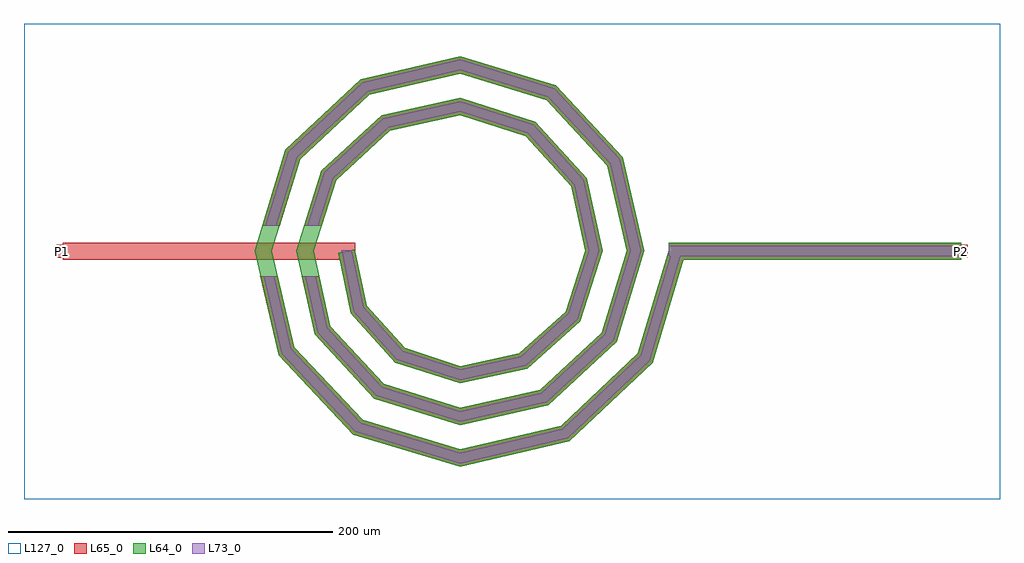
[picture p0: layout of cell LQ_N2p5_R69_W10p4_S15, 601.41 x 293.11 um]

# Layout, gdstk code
import gdstk
lib = gdstk.Library(unit=1e-6, precision=1e-09)
def R(c, l, rs):  # rectangles x0, y0, x1, y1
    for r in rs: c.add(gdstk.rectangle(r[:2], r[2:], *l))
def P(c, l, *ps):  # polygons
    for p in ps: c.add(gdstk.Polygon(p, *l))
L64_0 = (64, 0)
L65_0 = (65, 0)
L73_0 = (73, 0)
L127_0 = (127, 0)

lq_n2p5_r69_w10p4_s15 = lib.new_cell('LQ_N2p5_R69_W10p4_S15')
R(lq_n2p5_r69_w10p4_s15, L64_0, [(128.822,-5.2,308.822,5.2)])
P(lq_n2p5_r69_w10p4_s15, L64_0, [(-57.491,-33.537),(-34.098,-59.639),(0.282,-70.838),(36.727,-63.065),(65.189,-37.329),(77.261,0.26),(68.637,39.92),(40.557,70.741),(0.241,83.683),(-43.116,74.208),(-76.294,43.783),(-90.105,0.225),(-79.777,-46.314),(-47.007,-81.849),(0.211,-96.528),(49.513,-85.346),(87.405,-50.229),(102.95,0.198),(90.914,52.714),(53.451,92.961),(0.187,109.373),(-55.916,96.482),(-98.518,56.671),(-115.795,0.177),(-102.049,-59.119),(-59.89,-104.076),(0.168,-122.218),(62.323,-107.615),(109.634,-63.109),(129.042,1.496),(139.002,-1.496),(118.791,-68.772),(67.417,-117.101),(0.168,-132.98),(-65.568,-113.224),(-111.543,-64.198),(-126.557,0.177),(-107.657,62.364),(-60.978,105.985),(0.187,120.134),(59.162,102.089),(100.428,57.757),(113.711,0.198),(96.521,-55.96),(54.535,-94.871),(0.211,-107.287),(-52.76,-90.952),(-89.315,-51.312),(-100.864,0.225),(-85.381,49.561),(-48.087,83.76),(0.241,94.44),(46.364,79.81),(78.206,44.859),(88.017,0.26),(74.237,-43.169),(41.63,-72.653),(0.282,-81.593),(-39.977,-68.662),(-67.102,-38.396),(-74.883,-1.061),(-64.702,1.061)])
R(lq_n2p5_r69_w10p4_s15, L65_0, [(-244.593,-5.2,-64.593,5.2), (128.822,-5.2,308.822,5.2), (-248.593,-4,-240.593,4), (304.822,-4,312.822,4)])
P(lq_n2p5_r69_w10p4_s15, L65_0, [(-102.049,-59.119),(-59.89,-104.076),(0.169,-122.218),(62.323,-107.615),(109.634,-63.109),(129.042,1.496),(139.002,-1.496),(118.791,-68.772),(67.417,-117.101),(0.169,-132.98),(-65.568,-113.225),(-111.543,-64.198),(-122.878,-15.6),(-112.198,-15.6)],
  [(-79.777,-46.314),(-47.007,-81.849),(0.211,-96.528),(49.513,-85.346),(87.405,-50.229),(102.95,0.198),(90.914,52.714),(53.451,92.961),(0.187,109.373),(-55.916,96.482),(-98.518,56.671),(-111,15.6),(-121.87,15.6),(-107.657,62.365),(-60.978,105.985),(0.187,120.134),(59.162,102.089),(100.428,57.757),(113.711,0.198),(96.521,-55.96),(54.535,-94.871),(0.211,-107.287),(-52.76,-90.952),(-89.315,-51.312),(-97.318,-15.6),(-86.66,-15.6)],
  [(-34.098,-59.639),(0.282,-70.839),(36.727,-63.065),(65.189,-37.329),(77.261,0.26),(68.637,39.92),(40.557,70.741),(0.241,83.683),(-43.116,74.208),(-76.294,43.783),(-85.139,15.6),(-96.039,15.6),(-85.381,49.561),(-48.087,83.76),(0.241,94.44),(46.364,79.81),(78.206,44.859),(88.017,0.26),(74.237,-43.169),(41.63,-72.653),(0.282,-81.593),(-39.977,-68.662),(-67.102,-38.396),(-74.883,-1.061),(-64.702,1.061),(-57.491,-33.537)])
R(lq_n2p5_r69_w10p4_s15, L73_0, [(128.822,-3.2,308.822,3.2)])
P(lq_n2p5_r69_w10p4_s15, L73_0, [(-103.875,-60.096),(-60.982,-105.835),(0.104,-124.288),(63.303,-109.439),(111.395,-64.198),(130.957,0.921),(137.087,0.921),(117.03,-67.683),(66.438,-115.277),(0.104,-130.911),(-64.476,-111.465),(-109.717,-63.221),(-120.824,-15.6),(-114.252,-15.6)],
  [(-81.611,-47.275),(-48.113,-83.6),(0.13,-98.597),(50.479,-87.178),(89.158,-51.331),(105.019,0.122),(92.744,53.684),(54.549,94.716),(0.115,111.442),(-56.89,98.309),(-100.276,57.766),(-113.091,15.6),(-119.78,15.6),(-105.9,61.27),(-60.005,104.158),(0.115,118.065),(58.063,100.334),(98.598,56.788),(111.641,0.122),(94.768,-54.858),(53.57,-93.039),(0.13,-105.218),(-51.653,-89.201),(-87.481,-50.351),(-95.268,-15.6),(-88.709,-15.6)],
  [(-35.228,-61.374),(0.174,-72.907),(37.67,-64.909),(66.929,-38.452),(79.329,0.16),(70.477,40.87),(41.674,72.485),(0.149,85.752),(-44.072,76.045),(-78.042,44.894),(-87.235,15.6),(-93.943,15.6),(-83.634,48.45),(-47.131,81.923),(0.149,92.372),(45.247,78.066),(76.366,43.91),(85.948,0.16),(72.497,-42.046),(40.687,-70.809),(0.174,-79.525),(-38.846,-66.927),(-65.254,-37.462),(-72.925,0.653),(-66.66,0.653),(-59.339,-34.472)])
R(lq_n2p5_r69_w10p4_s15, L127_0, [(-268.593,-152.98,332.822,140.134)])
lq_n2p5_r69_w10p4_s15.add(gdstk.Label('P2', (308.822,0), layer=65, texttype=0))
lq_n2p5_r69_w10p4_s15.add(gdstk.Label('P1', (-244.593,0), layer=65, texttype=0))
lq_n2p5_r69_w10p4_s15.add(gdstk.Label('P2', (312.822,0), layer=145, texttype=0))
lq_n2p5_r69_w10p4_s15.add(gdstk.Label('P1', (-248.593,0), layer=145, texttype=0))

lib.write_gds('LQ_N2p5_R69_W10p4_S15.gds')
